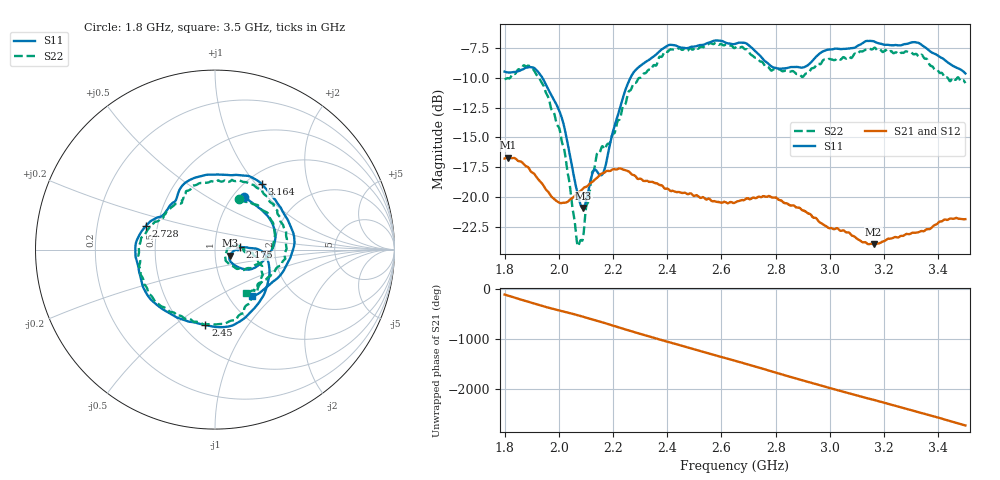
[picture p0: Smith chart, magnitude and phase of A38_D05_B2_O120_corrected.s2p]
! Created with skrf 1.9.0 (http://scikit-rf.org).
# Hz S RI R 50.0
!freq ReS11 ImS11 ReS21 ImS21 ReS12 ImS12 ReS22 ImS22
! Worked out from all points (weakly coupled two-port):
!   1601 points, 1.8 GHz to 3.5 GHz, reference 50 ohm
!   highest |S21| = -16.68 dB at 1.812 GHz (marker M1); lowest = -24.0 dB at 3.161 GHz (marker M2)
!   lowest |S11| = -20.9 dB at 2.09 GHz (marker M3), VSWR 1.20, Z = 59 - j3.96 ohm
!   |S11| at or under -10 dB: 1.94 GHz to 2.264 GHz (324.4 MHz wide, 15.4 % of centre)
!   |S22| runs from -24.1 to -7.1 dB; largest |S21 - S12| = 0.0026
!   S11 on the Smith chart (normalised r, x): 1.8 GHz: 1.13, +0.75; 2.175 GHz: 1.32, +0.03; 2.45 GHz: 0.64, -0.65; 2.728 GHz: 0.43, +0.14; 3.164 GHz: 1.17, +1.07; 3.5 GHz: 1.27, -0.74
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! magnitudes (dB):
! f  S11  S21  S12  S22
! 1.8 GHz  -9.5  -16.8  -16.8  -10.1
! 1.812 GHz  -9.5  -16.7  -16.7  -10.0
! 1.886 GHz  -9.1  -17.5  -17.5  -9.0
! 1.941 GHz  -10.1  -19.0  -19.0  -10.5
! 2.011 GHz  -13.4  -20.5  -20.5  -15.4
! 2.067 GHz  -19.5  -19.7  -19.7  -23.8
! 2.084 GHz  -20.8  -19.4  -19.4  -23.6
! 2.09 GHz  -20.9  -19.3  -19.3  -23.3
! 2.136 GHz  -17.7  -18.5  -18.5  -17.0
! 2.175 GHz  -17.1  -17.8  -17.8  -15.7
! 2.262 GHz  -10.1  -17.9  -17.9  -11.1
! 2.367 GHz  -7.9  -18.9  -18.9  -8.4
! 2.45 GHz  -7.5  -19.6  -19.6  -7.6
! 2.65 GHz  -7.2  -20.5  -20.4  -7.5
! 2.728 GHz  -7.8  -20.1  -20.1  -8.3
! 2.808 GHz  -9.2  -20.2  -20.1  -9.3
! 2.934 GHz  -8.6  -21.6  -21.6  -9.2
! 3.161 GHz  -6.9  -24.0  -23.9  -7.5
! 3.164 GHz  -7.0  -24.0  -23.9  -7.5
! 3.217 GHz  -7.2  -23.5  -23.5  -7.8
! 3.325 GHz  -7.1  -23.0  -22.9  -8.2
! 3.5 GHz  -9.6  -21.8  -21.8  -10.4
